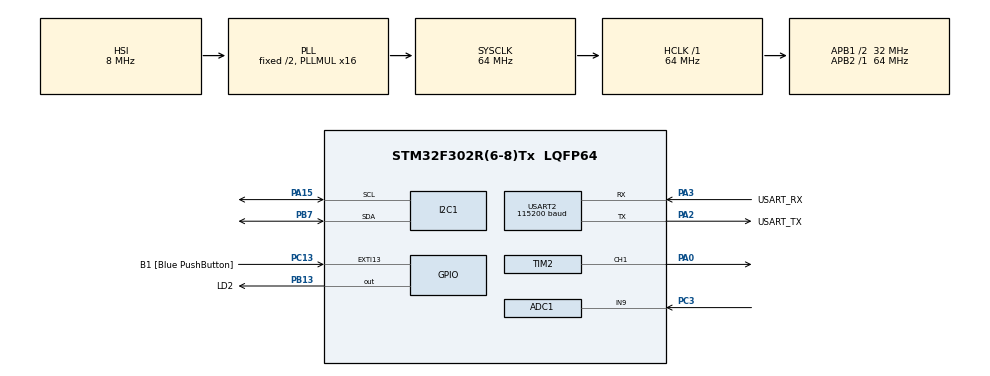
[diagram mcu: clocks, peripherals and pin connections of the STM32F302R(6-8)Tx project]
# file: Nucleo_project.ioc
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ADC1.Channel-0\#ChannelRegularConversion=ADC_CHANNEL_9
ADC1.ContinuousConvMode=ENABLE
ADC1.NbrOfConversionFlag=1
ADC1.Offset-0\#ChannelRegularConversion=0
ADC1.OffsetNumber-0\#ChannelRegularConversion=ADC_OFFSET_NONE
ADC1.Rank-0\#ChannelRegularConversion=1
ADC1.SamplingTime-0\#ChannelRegularConversion=ADC_SAMPLETIME_1CYCLE_5
ADC1.SamplingTimeOPAMP-0\#ChannelRegularConversion=ADC_SAMPLETIME_61CYCLES_5
ADC1.SubFamily=STM32F302x8
ADC1.master=1
I2C1.Timing=0x00201D2B
Mcu.Family=STM32F3
Mcu.Name=STM32F302R(6-8)Tx
Mcu.Package=LQFP64
NVIC.PriorityGroup=NVIC_PRIORITYGROUP_0
NVIC.TIM1_BRK_TIM15_IRQn=true\:0\:0\:false\:false\:true\:true\:true\:true
PA0.Signal=S_TIM2_CH1_ETR
PA13.GPIO_Label=TMS
PA13.Mode=Serial_Wire
PA13.Signal=SYS_JTMS-SWDIO
PA14.GPIO_Label=TCK
PA14.Mode=Serial_Wire
PA14.Signal=SYS_JTCK-SWCLK
PA15.Mode=I2C
PA15.Signal=I2C1_SCL
PA2.GPIO_Label=USART_TX
PA2.GPIO_Mode=GPIO_MODE_AF_PP
PA2.GPIO_PuPd=GPIO_NOPULL
PA2.GPIO_Speed=GPIO_SPEED_FREQ_LOW
PA2.Mode=Asynchronous
PA2.Signal=USART2_TX
PA3.GPIO_Label=USART_RX
PA3.GPIO_Mode=GPIO_MODE_AF_PP
PA3.GPIO_PuPd=GPIO_NOPULL
PA3.GPIO_Speed=GPIO_SPEED_FREQ_LOW
PA3.Mode=Asynchronous
PA3.Signal=USART2_RX
PB13.GPIO_Label=LD2
PB13.Signal=GPIO_Output
PB3.GPIO_Label=SWO
PB3.Mode=Trace_Asynchronous_SW
PB3.Signal=SYS_JTDO-TRACESWO
PB7.Mode=I2C
PB7.Signal=I2C1_SDA
PC13.GPIO_Label=B1 [Blue PushButton]
PC13.GPIO_ModeDefaultEXTI=GPIO_MODE_IT_FALLING
PC13.Signal=GPXTI13
PC14\ -\ OSC32_IN.Mode=LSE-External-Oscillator
PC14\ -\ OSC32_IN.Signal=RCC_OSC32_IN
PC15\ -\ OSC32_OUT.Mode=LSE-External-Oscillator
PC15\ -\ OSC32_OUT.Signal=RCC_OSC32_OUT
PC3.Signal=ADCx_IN9
PF0-OSC_IN.Mode=HSE-External-Oscillator
PF0-OSC_IN.Signal=RCC_OSC_IN
PF1-OSC_OUT.Mode=HSE-External-Oscillator
PF1-OSC_OUT.Signal=RCC_OSC_OUT
ProjectManager.HeapSize=0x200
ProjectManager.StackSize=0x400
ProjectManager.TargetToolchain=STM32CubeIDE
RCC.AHBFreq_Value=64000000
RCC.APB1CLKDivider=RCC_HCLK_DIV2
RCC.APB1Freq_Value=32000000
RCC.APB1TimFreq_Value=64000000
RCC.APB2Freq_Value=64000000
RCC.APB2TimFreq_Value=64000000
RCC.CortexFreq_Value=64000000
RCC.HCLKFreq_Value=64000000
RCC.HSE_VALUE=8000000
RCC.HSI_VALUE=8000000
RCC.PLLM=8
RCC.PLLMUL=RCC_PLL_MUL16
RCC.PLLN=336
RCC.PLLP=RCC_PLLP_DIV4
RCC.PLLQ=7
RCC.RCC_PLLsource_Clock_Source_FROM_HSE=RCC_HSE_PREDIV_DIV2
RCC.SYSCLKFreq_VALUE=64000000
RCC.SYSCLKSourceVirtual=RCC_SYSCLKSOURCE_PLLCLK
RCC.USBFreq_Value=64000000
SH.ADCx_IN9.0=ADC1_IN9,IN9-Single-Ended
SH.S_TIM2_CH1_ETR.0=TIM2_CH1,PWM Generation1 CH1
TIM15.Period=3200-1
TIM15.Prescaler=10000-1
TIM2.Channel-PWM\ Generation1\ CH1=TIM_CHANNEL_1
TIM2.Period=20000-1
TIM2.Prescaler=64-1
USART2.BaudRate=115200
USART2.VirtualMode-Asynchronous=VM_ASYNC
VP_TIM15_VS_ClockSourceINT.Mode=Internal
VP_TIM2_VS_ClockSourceINT.Mode=Internal
board=NUCLEO-F302R8

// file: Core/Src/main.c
/* USER CODE BEGIN Header */
/**
  ******************************************************************************
  * @file           : main.c
  * @brief          : Main program body
  ******************************************************************************
  * @attention
  *
  * Copyright (c) 2026 STMicroelectronics.
  * All rights reserved.
  *
  * This software is licensed under terms that can be found in the LICENSE file
  * in the root directory of this software component.
  * If no LICENSE file comes with this software, it is provided AS-IS.
  *
  ******************************************************************************
  */
/* USER CODE END Header */
#include "main.h"

/* USER CODE BEGIN Includes */
#include <string.h>
#include "stdio.h"
/* USER CODE END Includes */

ADC_HandleTypeDef hadc1;

I2C_HandleTypeDef hi2c1;

TIM_HandleTypeDef htim2;
TIM_HandleTypeDef htim15;

UART_HandleTypeDef huart2;

void SystemClock_Config(void);
static void MX_GPIO_Init(void);
static void MX_TIM15_Init(void);
static void MX_USART2_UART_Init(void);
static void MX_I2C1_Init(void);
static void MX_ADC1_Init(void);
static void MX_TIM2_Init(void);
/* USER CODE BEGIN PFP */
int __io_putchar(int ch);
/* USER CODE END PFP */

/* USER CODE BEGIN 0 */
//Code for Servo angle setting
void Set_Servo_Angle (TIM_HandleTypeDef *htim,uint32_t channel, uint8_t angle){
	//Angle(0-180) to pulse width (500-2500 counts)
	//500 for 0.5ms (0 degrees) and 2500 for 2.5ms (180 degrees)
	uint32_t pulse_length = 500 + (angle *(2500-500)/180);
	__HAL_TIM_SET_COMPARE(htim, channel, pulse_length);
}

uint16_t readValue;

static void i2c_scan(void)
{
	for(uint8_t i = 0; i<127; i++)
    {
	    if(HAL_I2C_IsDeviceReady(&hi2c1, i << 1, 1, 10) == HAL_OK)
		{
			printf("I2C Address is 0x%x\r\n", i);
		}
    }
}

uint8_t data[]="El luchador!\n";

void HAL_TIM_PeriodElapsedCallback(TIM_HandleTypeDef *htim){
	HAL_GPIO_TogglePin(LD2_GPIO_Port, LD2_Pin);
}

/* USER CODE END 0 */

int main(void)
{

  /* MCU Configuration--------------------------------------------------------*/

  /* Reset of all peripherals, Initializes the Flash interface and the Systick. */
  HAL_Init();

  /* Configure the system clock */
  SystemClock_Config();

  /* Initialize all configured peripherals */
  MX_GPIO_Init();
  MX_TIM15_Init();
  MX_USART2_UART_Init();
  MX_I2C1_Init();
  MX_ADC1_Init();
  MX_TIM2_Init();
  /* USER CODE BEGIN 2 */

  //Servo code
  HAL_TIM_PWM_Start(&htim2, TIM_CHANNEL_1);

  HAL_TIM_Base_Start_IT(&htim15);

  i2c_scan();

  HAL_ADC_Start(&hadc1);
  /* USER CODE END 2 */

  /* Infinite loop */
  /* USER CODE BEGIN WHILE */

  HAL_UART_Transmit(&huart2, data, 12, 2000); /*1st comment umm this
   is for the message printing but prints twice for some reason*/

    uint8_t cmd_init[2] = {0x20, 0x03};//spg30_iaq_init
    uint8_t cmd_meas[2] = {0x20, 0x08};//sgp30_measure_iaq
    uint8_t buf[6];
    uint16_t eco2, tvoc;

    /*Start air quality sensing*/
    if(HAL_I2C_Master_Transmit(&hi2c1, 0x58<<1, cmd_init,2,100) != HAL_OK)
    {
  	  printf("iaq_init failed\r\n");//shows if connection failed?
    }
    HAL_Delay(10);

    while (1)
    {
    	HAL_ADC_PollForConversion(&hadc1,1000);
    	readValue = HAL_ADC_GetValue(&hadc1);

    /* USER CODE END WHILE */

    /* USER CODE BEGIN 3 */
      //Sweaping servo motor 180 degrees
      for (uint8_t angle =0; angle<= 180; angle += 10){//try to get rid of this line and the delay and set angel to something specific
      Set_Servo_Angle(&htim2, TIM_CHANNEL_1, angle);
      HAL_Delay(100);
      }

      //Sweep servo from 180 degrees to 0
      	  for (uint8_t angle = 180; angle > 0; angle -= 10){
      		  Set_Servo_Angle(&htim2, TIM_CHANNEL_1, angle);
      		  HAL_Delay(100);
           	   }

  	  if(HAL_I2C_Master_Transmit(&hi2c1, 0x58<<1, cmd_meas,2,100) ==HAL_OK)
  	  {
  		  HAL_Delay(12); //data sheet says 12 milli-seconds

  	  	if(HAL_I2C_Master_Receive(&hi2c1, 0x58<<1, buf, 6, 100)==HAL_OK)
  	  	{
  	  		eco2 = (buf[0] << 8) | buf[1]; // Buff [2] and [5] are crc so ignored
  	  		tvoc = (buf[3] << 8) | buf[4];
  	  		printf("eCO2: %u ppm, TVOC: %u ppb\r\n", eco2, tvoc);
  	  	}
  	  	else
  	  	{
  	  		printf("read failed\r\n");
  	  	}
  	  }
  	  else
  	  {
  		  printf("measure command failed\r\n");
  	  }

  	  HAL_Delay(988);

    }
  /* USER CODE END 3 */
}

void SystemClock_Config(void)
{
  RCC_OscInitTypeDef RCC_OscInitStruct = {0};
  RCC_ClkInitTypeDef RCC_ClkInitStruct = {0};
  RCC_PeriphCLKInitTypeDef PeriphClkInit = {0};

  /** Initializes the RCC Oscillators according to the specified parameters
  * in the RCC_OscInitTypeDef structure.
  */
  RCC_OscInitStruct.OscillatorType = RCC_OSCILLATORTYPE_HSI;
  RCC_OscInitStruct.HSIState = RCC_HSI_ON;
  RCC_OscInitStruct.HSICalibrationValue = RCC_HSICALIBRATION_DEFAULT;
  RCC_OscInitStruct.PLL.PLLState = RCC_PLL_ON;
  RCC_OscInitStruct.PLL.PLLSource = RCC_PLLSOURCE_HSI;
  RCC_OscInitStruct.PLL.PLLMUL = RCC_PLL_MUL16;
  if (HAL_RCC_OscConfig(&RCC_OscInitStruct) != HAL_OK)
  {
    Error_Handler();
  }

  /** Initializes the CPU, AHB and APB buses clocks
  */
  RCC_ClkInitStruct.ClockType = RCC_CLOCKTYPE_HCLK|RCC_CLOCKTYPE_SYSCLK
                              |RCC_CLOCKTYPE_PCLK1|RCC_CLOCKTYPE_PCLK2;
  RCC_ClkInitStruct.SYSCLKSource = RCC_SYSCLKSOURCE_PLLCLK;
  RCC_ClkInitStruct.AHBCLKDivider = RCC_SYSCLK_DIV1;
  RCC_ClkInitStruct.APB1CLKDivider = RCC_HCLK_DIV2;
  RCC_ClkInitStruct.APB2CLKDivider = RCC_HCLK_DIV1;

  if (HAL_RCC_ClockConfig(&RCC_ClkInitStruct, FLASH_LATENCY_2) != HAL_OK)
  {
    Error_Handler();
  }
  PeriphClkInit.PeriphClockSelection = RCC_PERIPHCLK_I2C1|RCC_PERIPHCLK_TIM15
                              |RCC_PERIPHCLK_ADC1;
  PeriphClkInit.I2c1ClockSelection = RCC_I2C1CLKSOURCE_HSI;
  PeriphClkInit.Tim15ClockSelection = RCC_TIM15CLK_HCLK;
  PeriphClkInit.Adc1ClockSelection = RCC_ADC1PLLCLK_DIV1;

  if (HAL_RCCEx_PeriphCLKConfig(&PeriphClkInit) != HAL_OK)
  {
    Error_Handler();
  }
}

static void MX_ADC1_Init(void)
{

  ADC_ChannelConfTypeDef sConfig = {0};

  /** Common config
  */
  hadc1.Instance = ADC1;
  hadc1.Init.ClockPrescaler = ADC_CLOCK_ASYNC_DIV1;
  hadc1.Init.Resolution = ADC_RESOLUTION_12B;
  hadc1.Init.ScanConvMode = ADC_SCAN_DISABLE;
  hadc1.Init.ContinuousConvMode = ENABLE;
  hadc1.Init.DiscontinuousConvMode = DISABLE;
  hadc1.Init.ExternalTrigConvEdge = ADC_EXTERNALTRIGCONVEDGE_NONE;
  hadc1.Init.ExternalTrigConv = ADC_SOFTWARE_START;
  hadc1.Init.DataAlign = ADC_DATAALIGN_RIGHT;
  hadc1.Init.NbrOfConversion = 1;
  hadc1.Init.DMAContinuousRequests = DISABLE;
  hadc1.Init.EOCSelection = ADC_EOC_SINGLE_CONV;
  hadc1.Init.LowPowerAutoWait = DISABLE;
  hadc1.Init.Overrun = ADC_OVR_DATA_OVERWRITTEN;
  if (HAL_ADC_Init(&hadc1) != HAL_OK)
  {
    Error_Handler();
  }

  /** Configure Regular Channel
  */
  sConfig.Channel = ADC_CHANNEL_9;
  sConfig.Rank = ADC_REGULAR_RANK_1;
  sConfig.SingleDiff = ADC_SINGLE_ENDED;
  sConfig.SamplingTime = ADC_SAMPLETIME_1CYCLE_5;
  sConfig.OffsetNumber = ADC_OFFSET_NONE;
  sConfig.Offset = 0;
  if (HAL_ADC_ConfigChannel(&hadc1, &sConfig) != HAL_OK)
  {
    Error_Handler();
  }

}

static void MX_I2C1_Init(void)
{

  hi2c1.Instance = I2C1;
  hi2c1.Init.Timing = 0x00201D2B;
  hi2c1.Init.OwnAddress1 = 0;
  hi2c1.Init.AddressingMode = I2C_ADDRESSINGMODE_7BIT;
  hi2c1.Init.DualAddressMode = I2C_DUALADDRESS_DISABLE;
  hi2c1.Init.OwnAddress2 = 0;
  hi2c1.Init.OwnAddress2Masks = I2C_OA2_NOMASK;
  hi2c1.Init.GeneralCallMode = I2C_GENERALCALL_DISABLE;
  hi2c1.Init.NoStretchMode = I2C_NOSTRETCH_DISABLE;
  if (HAL_I2C_Init(&hi2c1) != HAL_OK)
  {
    Error_Handler();
  }

  /** Configure Analogue filter
  */
  if (HAL_I2CEx_ConfigAnalogFilter(&hi2c1, I2C_ANALOGFILTER_ENABLE) != HAL_OK)
  {
    Error_Handler();
  }

  /** Configure Digital filter
  */
  if (HAL_I2CEx_ConfigDigitalFilter(&hi2c1, 0) != HAL_OK)
  {
    Error_Handler();
  }

}

static void MX_TIM2_Init(void)
{

  TIM_ClockConfigTypeDef sClockSourceConfig = {0};
  TIM_MasterConfigTypeDef sMasterConfig = {0};
  TIM_OC_InitTypeDef sConfigOC = {0};

  htim2.Instance = TIM2;
  htim2.Init.Prescaler = 64-1;
  htim2.Init.CounterMode = TIM_COUNTERMODE_UP;
  htim2.Init.Period = 20000-1;
  htim2.Init.ClockDivision = TIM_CLOCKDIVISION_DIV1;
  htim2.Init.AutoReloadPreload = TIM_AUTORELOAD_PRELOAD_DISABLE;
  if (HAL_TIM_Base_Init(&htim2) != HAL_OK)
  {
    Error_Handler();
  }
  sClockSourceConfig.ClockSource = TIM_CLOCKSOURCE_INTERNAL;
  if (HAL_TIM_ConfigClockSource(&htim2, &sClockSourceConfig) != HAL_OK)
  {
    Error_Handler();
  }
  if (HAL_TIM_PWM_Init(&htim2) != HAL_OK)
  {
    Error_Handler();
  }
  sMasterConfig.MasterOutputTrigger = TIM_TRGO_RESET;
  sMasterConfig.MasterSlaveMode = TIM_MASTERSLAVEMODE_DISABLE;
  if (HAL_TIMEx_MasterConfigSynchronization(&htim2, &sMasterConfig) != HAL_OK)
  {
    Error_Handler();
  }
  sConfigOC.OCMode = TIM_OCMODE_PWM1;
  sConfigOC.Pulse = 0;
  sConfigOC.OCPolarity = TIM_OCPOLARITY_HIGH;
  sConfigOC.OCFastMode = TIM_OCFAST_DISABLE;
  if (HAL_TIM_PWM_ConfigChannel(&htim2, &sConfigOC, TIM_CHANNEL_1) != HAL_OK)
  {
    Error_Handler();
  }
  HAL_TIM_MspPostInit(&htim2);

}

static void MX_TIM15_Init(void)
{

  TIM_ClockConfigTypeDef sClockSourceConfig = {0};
  TIM_MasterConfigTypeDef sMasterConfig = {0};

  htim15.Instance = TIM15;
  htim15.Init.Prescaler = 10000-1;
  htim15.Init.CounterMode = TIM_COUNTERMODE_UP;
  htim15.Init.Period = 3200-1;
  htim15.Init.ClockDivision = TIM_CLOCKDIVISION_DIV1;
  htim15.Init.RepetitionCounter = 0;
  htim15.Init.AutoReloadPreload = TIM_AUTORELOAD_PRELOAD_DISABLE;
  if (HAL_TIM_Base_Init(&htim15) != HAL_OK)
  {
    Error_Handler();
  }
  sClockSourceConfig.ClockSource = TIM_CLOCKSOURCE_INTERNAL;
  if (HAL_TIM_ConfigClockSource(&htim15, &sClockSourceConfig) != HAL_OK)
  {
    Error_Handler();
  }
  sMasterConfig.MasterOutputTrigger = TIM_TRGO_RESET;
  sMasterConfig.MasterSlaveMode = TIM_MASTERSLAVEMODE_DISABLE;
  if (HAL_TIMEx_MasterConfigSynchronization(&htim15, &sMasterConfig) != HAL_OK)
  {
    Error_Handler();
  }

}

static void MX_USART2_UART_Init(void)
{

  huart2.Instance = USART2;
  huart2.Init.BaudRate = 115200;
  huart2.Init.WordLength = UART_WORDLENGTH_8B;
  huart2.Init.StopBits = UART_STOPBITS_1;
  huart2.Init.Parity = UART_PARITY_NONE;
  huart2.Init.Mode = UART_MODE_TX_RX;
  huart2.Init.HwFlowCtl = UART_HWCONTROL_NONE;
  huart2.Init.OverSampling = UART_OVERSAMPLING_16;
  huart2.Init.OneBitSampling = UART_ONE_BIT_SAMPLE_DISABLE;
  huart2.AdvancedInit.AdvFeatureInit = UART_ADVFEATURE_NO_INIT;
  if (HAL_UART_Init(&huart2) != HAL_OK)
  {
    Error_Handler();
  }

}

static void MX_GPIO_Init(void)
{
  GPIO_InitTypeDef GPIO_InitStruct = {0};

  /* GPIO Ports Clock Enable */
  __HAL_RCC_GPIOC_CLK_ENABLE();
  __HAL_RCC_GPIOF_CLK_ENABLE();
  __HAL_RCC_GPIOA_CLK_ENABLE();
  __HAL_RCC_GPIOB_CLK_ENABLE();

  /*Configure GPIO pin Output Level */
  HAL_GPIO_WritePin(LD2_GPIO_Port, LD2_Pin, GPIO_PIN_RESET);

  /*Configure GPIO pin : B1_Pin */
  GPIO_InitStruct.Pin = B1_Pin;
  GPIO_InitStruct.Mode = GPIO_MODE_IT_FALLING;
  GPIO_InitStruct.Pull = GPIO_NOPULL;
  HAL_GPIO_Init(B1_GPIO_Port, &GPIO_InitStruct);

  /*Configure GPIO pin : LD2_Pin */
  GPIO_InitStruct.Pin = LD2_Pin;
  GPIO_InitStruct.Mode = GPIO_MODE_OUTPUT_PP;
  GPIO_InitStruct.Pull = GPIO_NOPULL;
  GPIO_InitStruct.Speed = GPIO_SPEED_FREQ_LOW;
  HAL_GPIO_Init(LD2_GPIO_Port, &GPIO_InitStruct);

}

/* USER CODE BEGIN 4 */
int __io_putchar(int ch)
{
	HAL_UART_Transmit(&huart2, (uint8_t*)&ch, 1, HAL_MAX_DELAY);
	return ch; /* I got no clue what this is but I think it defines i */
}
/* USER CODE END 4 */

void Error_Handler(void)
{
  __disable_irq();
  while (1)
  {
  }
}
